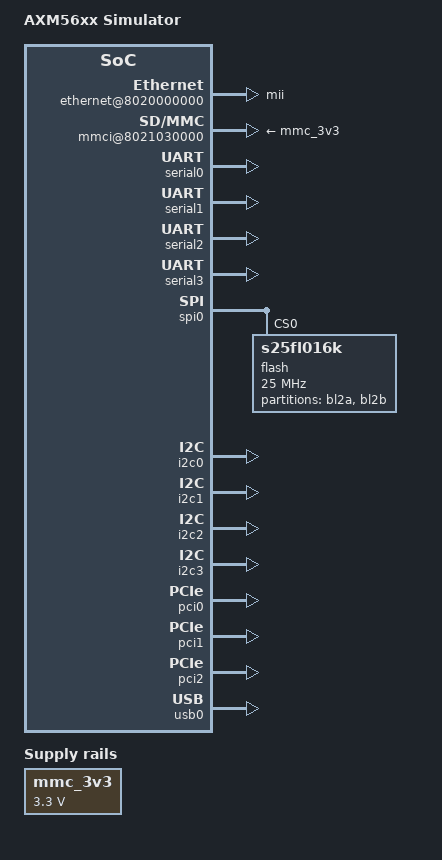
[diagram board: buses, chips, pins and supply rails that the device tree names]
/*
 * arch/arm64/boot/dts/intel/axm5604-sim.dts
 *
 * Copyright (C) 2013 LSI
 *
 * This program is free software; you can redistribute it and/or modify
 * it under the terms of the GNU General Public License as published by
 * the Free Software Foundation; either version 2 of the License, or
 * (at your option) any later version.
 */

/dts-v1/;

#include "axm56xx.dtsi"
#include "axm5604-cpus.dtsi"

/ {
	model = "AXM56xx Simulator";
	compatible = "lsi,axm5616";

	memory {
		device_type = "memory";
		reg = <0 0x00000000 0x40000000>;
	};

	mmc_3v3: fixedregulator@0 {
		compatible = "regulator-fixed";
		regulator-name = "3V3";
		regulator-min-microvolt = <3300000>;
		regulator-max-microvolt = <3300000>;
		regulator-always-on;
	};

	soc {
		virtio_block@8021000000 {
			compatible = "virtio,mmio";
			reg = <0x80 0x21000000 0x10000>;
			interrupts = <GIC_SPI 279 IRQ_TYPE_LEVEL_HIGH>;
		};

		vmfs@8021010000 {
			compatible = "arm,messagebox";
			reg = <0x80 0x21010000 0x1000>;
			interrupts = <GIC_SPI 278 IRQ_TYPE_LEVEL_HIGH>;
		};

		ethernet@8020000000 {
			compatible = "smsc,lan91c111";
			reg = <0x80 0x20000000 0x1000000>;
			interrupts = <GIC_SPI 280 IRQ_TYPE_LEVEL_HIGH>;
			phy-mode = "mii";
			reg-io-width = <4>;
			smsc,irq-active-high;
			smsc,irq-push-pull;
		};

		amba {
			mmci@8021030000 {
				compatible = "arm,pl18x", "arm,primecell";
				reg = <0x80 0x21030000 0x10000>;
				interrupts = <GIC_SPI 281 IRQ_TYPE_LEVEL_HIGH>,
					     <GIC_SPI 282 IRQ_TYPE_LEVEL_HIGH>;
				vmmc-supply = <&mmc_3v3>;
				vqmmc-supply = <&mmc_3v3>;
				clocks = <&clks 0>, <&clks 1>;
				clock-names = "apb_pclk", "mmc_clk";
			};
		};
	};
};

&serial0 {
	status = "okay";
};

&serial1 {
	status = "okay";
};

&serial2 {
	status = "okay";
};

&serial3 {
	status = "okay";
};

&gpio0 {
	status = "okay";
};

&gpio1 {
	status = "okay";
};

&spi0 {
	status = "okay";

	flash@0 {
		#address-cells = <1>;
		#size-cells = <1>;
		compatible = "s25fl016k";
		reg = <0x0>;
		spi-max-frequency = <25000000>;
		pl022,com-mode = <1>;

		partition@0 {
			label = "bl2a";
			reg = <0x0 0x40000>;
		};
		partition@40000 {
			label = "bl2b";
			reg = <0x40000 0x40000>;
		};
	};
};

&i2c0 {
	status = "okay";
};

&i2c1 {
	status = "okay";
};

&i2c2 {
	status = "okay";
};

&i2c3 {
	status = "okay";
};

&gpdma0 {
	status = "okay";
};

&gpdma1 {
	status = "okay";
};
&pci0 {

	status = "okay";
};

&pci1 {
	status = "okay";
};

&pci2 {
	status = "okay";
};

&usb0 {
	status = "okay";
};
